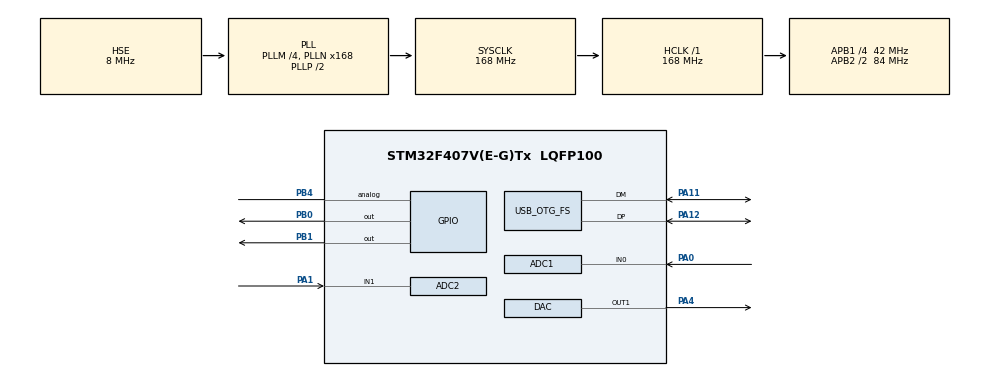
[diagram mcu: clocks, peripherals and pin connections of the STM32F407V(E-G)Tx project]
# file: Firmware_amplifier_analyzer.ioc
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ADC1.Channel-0\#ChannelRegularConversion=ADC_CHANNEL_0
ADC1.ClockPrescaler=ADC_CLOCK_SYNC_PCLK_DIV4
ADC1.NbrOfConversionFlag=1
ADC1.Rank-0\#ChannelRegularConversion=1
ADC1.SamplingTime-0\#ChannelRegularConversion=ADC_SAMPLETIME_3CYCLES
ADC1.master=1
ADC2.Channel-0\#ChannelRegularConversion=ADC_CHANNEL_1
ADC2.ClockPrescaler=ADC_CLOCK_SYNC_PCLK_DIV4
ADC2.NbrOfConversionFlag=1
ADC2.Rank-0\#ChannelRegularConversion=1
ADC2.SamplingTime-0\#ChannelRegularConversion=ADC_SAMPLETIME_3CYCLES
Mcu.Family=STM32F4
Mcu.Name=STM32F407V(E-G)Tx
Mcu.Package=LQFP100
NVIC.OTG_FS_IRQn=true\:0\:0\:false\:false\:true\:false\:true\:true
NVIC.PriorityGroup=NVIC_PRIORITYGROUP_4
PA0-WKUP.Signal=ADCx_IN0
PA1.Signal=ADCx_IN1
PA10.Signal=USART1_RX
PA11.Mode=Device_Only
PA11.Signal=USB_OTG_FS_DM
PA12.Mode=Device_Only
PA12.Signal=USB_OTG_FS_DP
PA13.Mode=Serial_Wire
PA13.Signal=SYS_JTMS-SWDIO
PA14.Mode=Serial_Wire
PA14.Signal=SYS_JTCK-SWCLK
PA4.Signal=COMP_DAC1_group
PA9.Signal=USART1_TX
PB0.Signal=GPIO_Output
PB1.Signal=GPIO_Output
PB4.Signal=GPIO_Analog
PH0-OSC_IN.Mode=HSE-External-Oscillator
PH0-OSC_IN.Signal=RCC_OSC_IN
PH1-OSC_OUT.Mode=HSE-External-Oscillator
PH1-OSC_OUT.Signal=RCC_OSC_OUT
ProjectManager.HeapSize=0x200
ProjectManager.StackSize=0x400
ProjectManager.TargetToolchain=STM32CubeIDE
RCC.48MHZClocksFreq_Value=48000000
RCC.AHBFreq_Value=168000000
RCC.APB1CLKDivider=RCC_HCLK_DIV4
RCC.APB1Freq_Value=42000000
RCC.APB1TimFreq_Value=84000000
RCC.APB2CLKDivider=RCC_HCLK_DIV2
RCC.APB2Freq_Value=84000000
RCC.APB2TimFreq_Value=168000000
RCC.CortexFreq_Value=168000000
RCC.HCLKFreq_Value=168000000
RCC.HSE_VALUE=8000000
RCC.HSI_VALUE=16000000
RCC.LSE_VALUE=32768
RCC.PLLM=4
RCC.PLLN=168
RCC.PLLQ=7
RCC.SYSCLKFreq_VALUE=168000000
RCC.SYSCLKSource=RCC_SYSCLKSOURCE_PLLCLK
RCC.VCOOutputFreq_Value=336000000
SH.ADCx_IN0.0=ADC1_IN0,IN0
SH.ADCx_IN1.0=ADC2_IN1,IN1
SH.COMP_DAC1_group.0=DAC_OUT1,DAC_OUT1
USB_DEVICE.CLASS_NAME_FS=CDC
USB_DEVICE.VirtualMode-CDC_FS=Cdc
USB_DEVICE.VirtualModeFS=Cdc_FS
USB_OTG_FS.VirtualMode=Device_Only
VP_USB_DEVICE_VS_USB_DEVICE_CDC_FS.Mode=CDC_FS
board=custom

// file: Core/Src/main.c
/* USER CODE BEGIN Header */
/**
  ******************************************************************************
  * @file           : main.c
  * @brief          : Main program body
  ******************************************************************************
  * @attention
  *
  * Copyright (c) 2026 STMicroelectronics.
  * All rights reserved.
  *
  * This software is licensed under terms that can be found in the LICENSE file
  * in the root directory of this software component.
  * If no LICENSE file comes with this software, it is provided AS-IS.
  *
  ******************************************************************************
  */
/* USER CODE END Header */
#include "main.h"
#include "usb_device.h"

/* USER CODE BEGIN Includes */
#include "protocol.h"
#include <math.h>
#include <string.h>
/* USER CODE END Includes */

ADC_HandleTypeDef hadc1;
ADC_HandleTypeDef hadc2;

DAC_HandleTypeDef hdac;

/* USER CODE BEGIN PV */
#define ADC_BUF_SIZE 1024
uint32_t adc_dual_buffer[ADC_BUF_SIZE]; // Chứa ADC1 & ADC2 simultaneous
uint16_t sine_lut[256];
/* USER CODE END PV */

void SystemClock_Config(void);
static void MX_GPIO_Init(void);
static void MX_ADC1_Init(void);
static void MX_ADC2_Init(void);
static void MX_DAC_Init(void);

/* USER CODE BEGIN 0 */
void GenerateSineLUT(float amplitude_scale) {
    for (int i = 0; i < 256; i++) {
        float val = (sinf(2.0f * M_PI * i / 256.0f) + 1.0f) / 2.0f;
        sine_lut[i] = (uint16_t)(val * 4095.0f * amplitude_scale);
    }
}

// Callback khi ADC lấy đủ dữ liệu buffer
void HAL_ADC_ConvCpltCallback(ADC_HandleTypeDef* hadc) {
    if (hadc->Instance == ADC1) {
        // Gửi nửa sau của buffer (trong khi DMA đang ghi nửa đầu - ping-pong nếu cần)
        // Ở đây ta gửi thẳng toàn bộ buffer để đơn giản hóa cho test đầu tiên
        protocol_send_osc_data((uint8_t*)adc_dual_buffer, ADC_BUF_SIZE);
    }
}
/* USER CODE END 0 */

int main(void)
{

  /* MCU Configuration--------------------------------------------------------*/

  /* Reset of all peripherals, Initializes the Flash interface and the Systick. */
  HAL_Init();

  /* Configure the system clock */
  SystemClock_Config();

  /* Initialize all configured peripherals */
  MX_GPIO_Init();
  MX_ADC1_Init();
  MX_ADC2_Init();
  MX_DAC_Init();
  MX_USB_DEVICE_Init();
  /* USER CODE BEGIN 2 */
  GenerateSineLUT(0.9f); // Phát sóng sine biên độ 90%

  // Khởi động DAC với DMA (Cần Timer 6 cấu hình làm Trigger)
  HAL_DAC_Start_DMA(&hdac, DAC_CHANNEL_1, (uint32_t*)sine_lut, 256, DAC_ALIGN_12B_R);

  // Khởi động ADC ở chế độ Simultaneous (CH1 + CH2) sử dụng DMA
  HAL_ADCEx_MultiModeStart_DMA(&hadc1, (uint32_t*)adc_dual_buffer, ADC_BUF_SIZE);
  /* USER CODE END 2 */

  /* Infinite loop */
  while (1)
  {

  }
}

void SystemClock_Config(void)
{
  RCC_OscInitTypeDef RCC_OscInitStruct = {0};
  RCC_ClkInitTypeDef RCC_ClkInitStruct = {0};

  /** Configure the main internal regulator output voltage
  */
  __HAL_RCC_PWR_CLK_ENABLE();
  __HAL_PWR_VOLTAGESCALING_CONFIG(PWR_REGULATOR_VOLTAGE_SCALE1);

  /** Initializes the RCC Oscillators according to the specified parameters
  * in the RCC_OscInitTypeDef structure.
  */
  RCC_OscInitStruct.OscillatorType = RCC_OSCILLATORTYPE_HSE;
  RCC_OscInitStruct.HSEState = RCC_HSE_ON;
  RCC_OscInitStruct.PLL.PLLState = RCC_PLL_ON;
  RCC_OscInitStruct.PLL.PLLSource = RCC_PLLSOURCE_HSE;
  RCC_OscInitStruct.PLL.PLLM = 4;
  RCC_OscInitStruct.PLL.PLLN = 168;
  RCC_OscInitStruct.PLL.PLLP = RCC_PLLP_DIV2;
  RCC_OscInitStruct.PLL.PLLQ = 7;
  if (HAL_RCC_OscConfig(&RCC_OscInitStruct) != HAL_OK)
  {
    Error_Handler();
  }

  /** Initializes the CPU, AHB and APB buses clocks
  */
  RCC_ClkInitStruct.ClockType = RCC_CLOCKTYPE_HCLK|RCC_CLOCKTYPE_SYSCLK
                              |RCC_CLOCKTYPE_PCLK1|RCC_CLOCKTYPE_PCLK2;
  RCC_ClkInitStruct.SYSCLKSource = RCC_SYSCLKSOURCE_PLLCLK;
  RCC_ClkInitStruct.AHBCLKDivider = RCC_SYSCLK_DIV1;
  RCC_ClkInitStruct.APB1CLKDivider = RCC_HCLK_DIV4;
  RCC_ClkInitStruct.APB2CLKDivider = RCC_HCLK_DIV2;

  if (HAL_RCC_ClockConfig(&RCC_ClkInitStruct, FLASH_LATENCY_5) != HAL_OK)
  {
    Error_Handler();
  }
}

static void MX_ADC1_Init(void)
{

  ADC_ChannelConfTypeDef sConfig = {0};

  /** Configure the global features of the ADC (Clock, Resolution, Data Alignment and number of conversion)
  */
  hadc1.Instance = ADC1;
  hadc1.Init.ClockPrescaler = ADC_CLOCK_SYNC_PCLK_DIV4;
  hadc1.Init.Resolution = ADC_RESOLUTION_12B;
  hadc1.Init.ScanConvMode = DISABLE;
  hadc1.Init.ContinuousConvMode = DISABLE;
  hadc1.Init.DiscontinuousConvMode = DISABLE;
  hadc1.Init.ExternalTrigConvEdge = ADC_EXTERNALTRIGCONVEDGE_NONE;
  hadc1.Init.ExternalTrigConv = ADC_SOFTWARE_START;
  hadc1.Init.DataAlign = ADC_DATAALIGN_RIGHT;
  hadc1.Init.NbrOfConversion = 1;
  hadc1.Init.DMAContinuousRequests = DISABLE;
  hadc1.Init.EOCSelection = ADC_EOC_SINGLE_CONV;
  if (HAL_ADC_Init(&hadc1) != HAL_OK)
  {
    Error_Handler();
  }

  /** Configure for the selected ADC regular channel its corresponding rank in the sequencer and its sample time.
  */
  sConfig.Channel = ADC_CHANNEL_0;
  sConfig.Rank = 1;
  sConfig.SamplingTime = ADC_SAMPLETIME_3CYCLES;
  if (HAL_ADC_ConfigChannel(&hadc1, &sConfig) != HAL_OK)
  {
    Error_Handler();
  }

}

static void MX_ADC2_Init(void)
{

  ADC_ChannelConfTypeDef sConfig = {0};

  /** Configure the global features of the ADC (Clock, Resolution, Data Alignment and number of conversion)
  */
  hadc2.Instance = ADC2;
  hadc2.Init.ClockPrescaler = ADC_CLOCK_SYNC_PCLK_DIV4;
  hadc2.Init.Resolution = ADC_RESOLUTION_12B;
  hadc2.Init.ScanConvMode = DISABLE;
  hadc2.Init.ContinuousConvMode = DISABLE;
  hadc2.Init.DiscontinuousConvMode = DISABLE;
  hadc2.Init.ExternalTrigConvEdge = ADC_EXTERNALTRIGCONVEDGE_NONE;
  hadc2.Init.ExternalTrigConv = ADC_SOFTWARE_START;
  hadc2.Init.DataAlign = ADC_DATAALIGN_RIGHT;
  hadc2.Init.NbrOfConversion = 1;
  hadc2.Init.DMAContinuousRequests = DISABLE;
  hadc2.Init.EOCSelection = ADC_EOC_SINGLE_CONV;
  if (HAL_ADC_Init(&hadc2) != HAL_OK)
  {
    Error_Handler();
  }

  /** Configure for the selected ADC regular channel its corresponding rank in the sequencer and its sample time.
  */
  sConfig.Channel = ADC_CHANNEL_1;
  sConfig.Rank = 1;
  sConfig.SamplingTime = ADC_SAMPLETIME_3CYCLES;
  if (HAL_ADC_ConfigChannel(&hadc2, &sConfig) != HAL_OK)
  {
    Error_Handler();
  }

}

static void MX_DAC_Init(void)
{

  DAC_ChannelConfTypeDef sConfig = {0};

  /** DAC Initialization
  */
  hdac.Instance = DAC;
  if (HAL_DAC_Init(&hdac) != HAL_OK)
  {
    Error_Handler();
  }

  /** DAC channel OUT1 config
  */
  sConfig.DAC_Trigger = DAC_TRIGGER_NONE;
  sConfig.DAC_OutputBuffer = DAC_OUTPUTBUFFER_ENABLE;
  if (HAL_DAC_ConfigChannel(&hdac, &sConfig, DAC_CHANNEL_1) != HAL_OK)
  {
    Error_Handler();
  }

}

static void MX_GPIO_Init(void)
{
  GPIO_InitTypeDef GPIO_InitStruct = {0};

  /* GPIO Ports Clock Enable */
  __HAL_RCC_GPIOH_CLK_ENABLE();
  __HAL_RCC_GPIOA_CLK_ENABLE();
  __HAL_RCC_GPIOB_CLK_ENABLE();

  /*Configure GPIO pin Output Level */
  HAL_GPIO_WritePin(GPIOB, GPIO_PIN_0|GPIO_PIN_1, GPIO_PIN_RESET);

  /*Configure GPIO pins : PB0 PB1 */
  GPIO_InitStruct.Pin = GPIO_PIN_0|GPIO_PIN_1;
  GPIO_InitStruct.Mode = GPIO_MODE_OUTPUT_PP;
  GPIO_InitStruct.Pull = GPIO_NOPULL;
  GPIO_InitStruct.Speed = GPIO_SPEED_FREQ_LOW;
  HAL_GPIO_Init(GPIOB, &GPIO_InitStruct);

  /*Configure GPIO pins : PA9 PA10 */
  GPIO_InitStruct.Pin = GPIO_PIN_9|GPIO_PIN_10;
  GPIO_InitStruct.Mode = GPIO_MODE_AF_PP;
  GPIO_InitStruct.Pull = GPIO_NOPULL;
  GPIO_InitStruct.Speed = GPIO_SPEED_FREQ_VERY_HIGH;
  GPIO_InitStruct.Alternate = GPIO_AF7_USART1;
  HAL_GPIO_Init(GPIOA, &GPIO_InitStruct);

  /*Configure GPIO pin : PB4 */
  GPIO_InitStruct.Pin = GPIO_PIN_4;
  GPIO_InitStruct.Mode = GPIO_MODE_ANALOG;
  GPIO_InitStruct.Pull = GPIO_NOPULL;
  HAL_GPIO_Init(GPIOB, &GPIO_InitStruct);

}

void Error_Handler(void)
{
  __disable_irq();
  while (1)
  {
  }
}
